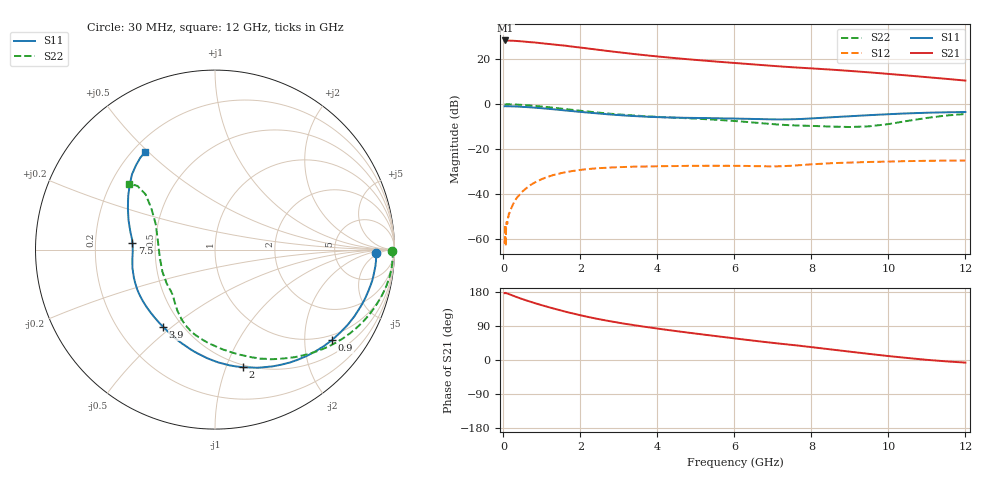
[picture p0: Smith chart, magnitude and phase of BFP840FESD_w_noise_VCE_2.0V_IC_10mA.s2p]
! Infineon Technologies  Discrete & RF Semiconductors
! BFP840FESD
! VCE =  2.0 V,  IC =  10 mA
! Common Emitter S-Parameters:  May 2012
# GHz  S  MA  R  50
!  f  S11  S21  S12  S22
! GHz  MAG  ANG  MAG  ANG  MAG  ANG  MAG  ANG
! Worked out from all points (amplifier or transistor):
!   103 points, 30 MHz to 12 GHz, reference 50 ohm
!   highest |S21| = 28.3 dB at 50 MHz (marker M1)
!   |S21| within 3 dB of that: start of sweep to 1.917 GHz
!   unconditionally stable (mu >= 1): 6.472 GHz to end of sweep
!   at 400 MHz: K = 0.10, MSG = 34.3 dB, |S12| = -40.6 dB
!   at 3.7 GHz: K = 0.53, MSG = 24.7 dB, |S12| = -27.7 dB
!   at 12 GHz: K = 1.15, MAG = 15.4 dB, |S12| = -25.1 dB
!   lowest NFmin = 0.66 dB at 450 MHz
!   S11 on the Smith chart (normalised r, x): 30 MHz: 18, -4; 900 MHz: 0.86, -2.69; 2 GHz: 0.48, -1.15; 3.9 GHz: 0.40, -0.47; 7.5 GHz: 0.37, +0.04; 12 GHz: 0.25, +0.49
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0.03  0.8998 -1.2  25.96 176.2  0.0008 66.0  0.9834 -0.4
0.04  0.9 -1.7  25.94 176.0  0.0012 74.5  0.9864 -0.7
0.05  0.9003 -2.2  26 177.2  0.0021 67.5  0.9891 -1.1
0.06  0.8992 -2.6  25.89 176.9  0.0007 75.7  0.9875 -1.4
0.07  0.8988 -3.1  25.91 176.7  0.002 70.9  0.9901 -1.9
0.14  0.8978 -6.2  25.77 174.1  0.0037 77.7  0.9904 -4.5
0.45  0.876 -19.5  24.89 162.2  0.0105 75.7  0.9657 -15.0
0.9  0.8239 -37.7  23 147.5  0.0198 65.9  0.9014 -28.9
1.2  0.7829 -49.1  21.61 138.7  0.025 59.3  0.8505 -37.5
1.6  0.7257 -63.7  19.96 127.8  0.0306 51.4  0.7797 -48.3
2  0.6732 -76.7  18.08 118.1  0.0347 44.5  0.7136 -58.3
2.1  0.6611 -79.9  17.65 115.8  0.0355 42.9  0.699 -60.7
2.5  0.6167 -91.3  15.98 107.4  0.038 37.6  0.645 -69.3
3  0.5714 -104.0  14.19 98.3  0.0399 32.5  0.5915 -78.6
3.9  0.5183 -123.9  11.7 84.4  0.0416 26.5  0.528 -92.4
4.1  0.512 -127.9  11.26 81.6  0.0419 25.6  0.5176 -95.1
5  0.4938 -144.5  9.605 69.6  0.0426 22.6  0.476 -105.9
6.1  0.4757 -162.5  8.103 55.9  0.0426 20.6  0.4162 -118.3
7.5  0.4614 175.3  6.612 39.7  0.0429 25.8  0.3391 -135.9
8.5  0.5099 161.0  5.861 28.0  0.0487 26.1  0.3179 -157.2
10.5  0.6243 137.8  4.332 5.3  0.0543 22.6  0.425 146.8
12  0.6684 125.8  3.339 -6.9  0.0559 22.1  0.6046 142.5
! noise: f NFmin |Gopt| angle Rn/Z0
0.45  0.66  0.31  5  0.14
0.9  0.68  0.3  11  0.15
1.5  0.7  0.28  16  0.15
1.9  0.7  0.25  27  0.15
2.4  0.71  0.23  35  0.15
3.5  0.73  0.23  57  0.14
5.5  0.79  0.15  102  0.11
8  0.91  0.13  168  0.12
10  1.04  0.24  -135  0.12
12  1.26  0.4  -115  0.14
